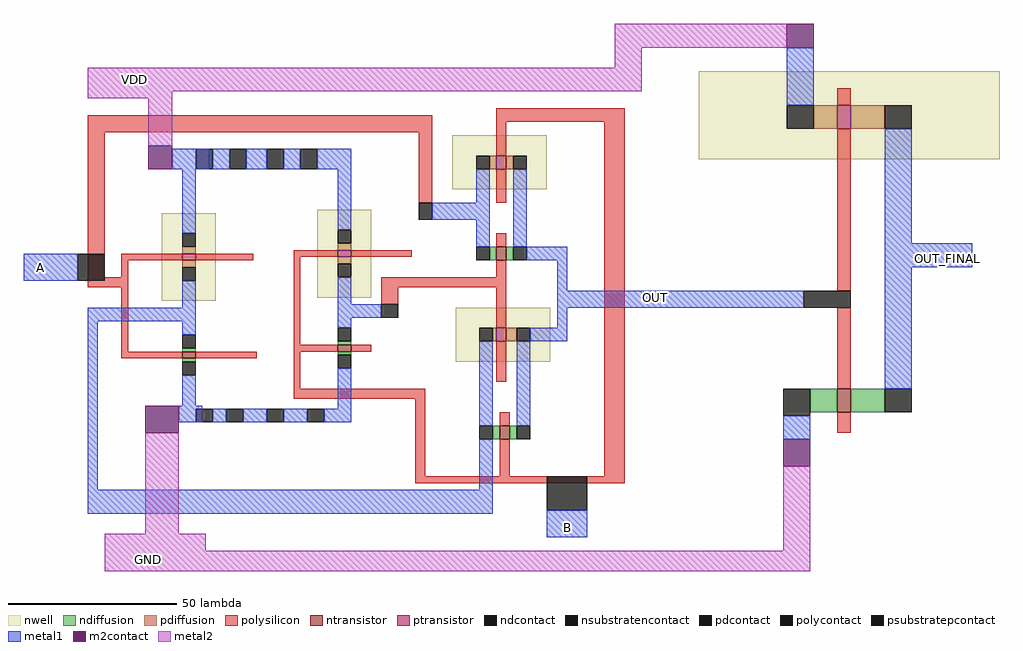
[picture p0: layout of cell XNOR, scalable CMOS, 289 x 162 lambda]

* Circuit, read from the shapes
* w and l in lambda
.subckt XNOR A B GND OUT OUT_FINAL VDD
M1 q1d_2_INPUT_XOR_0/ABAR A GND GND nfet w=4 l=2
M2 q1d_2_INPUT_XOR_0/BBAR B GND GND nfet w=4 l=2
M3 OUT q1d_2_INPUT_XOR_0/BBAR A GND nfet w=4 l=3
M4 OUT B q1d_2_INPUT_XOR_0/ABAR GND nfet w=4 l=3
M5 OUT_FINAL OUT GND GND nfet w=7 l=4
M6 VDD A q1d_2_INPUT_XOR_0/ABAR n1 pfet w=4 l=2
M7 VDD B q1d_2_INPUT_XOR_0/BBAR n2 pfet w=4 l=2
M8 OUT q1d_2_INPUT_XOR_0/BBAR q1d_2_INPUT_XOR_0/ABAR n3 pfet w=4 l=3
M9 OUT B A n4 pfet w=4 l=3
M10 OUT_FINAL OUT VDD n5 pfet w=7 l=4
.ends

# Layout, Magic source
magic
tech scmos
<< nwell >>
rect 181 105 270 131
<< ntransistor >>
rect 222 30 226 37
<< ptransistor >>
rect 222 114 226 121
<< ndiffusion >>
rect 214 30 222 37
rect 226 30 236 37
<< pdiffusion >>
rect 215 114 222 121
rect 226 114 236 121
<< ndcontact >>
rect 206 29 214 37
rect 236 30 244 37
<< pdcontact >>
rect 207 114 215 121
rect 236 114 244 121
<< polysilicon >>
rect 222 121 226 126
rect 222 66 226 114
rect 222 37 226 61
rect 222 24 226 30
<< polycontact >>
rect -3 69 5 77
rect 212 61 226 66
rect 136 1 148 11
<< metal1 >>
rect 207 121 215 138
rect 25 102 36 108
rect 236 80 244 114
rect -19 69 -3 77
rect 236 73 262 80
rect 139 62 212 66
rect 142 61 212 62
rect 236 37 244 73
rect 27 27 34 32
rect 206 22 214 29
rect 136 -7 148 1
<< m2contact >>
rect 207 138 215 145
rect 18 102 25 109
rect 17 24 27 32
rect 206 14 214 22
<< metal2 >>
rect 156 138 207 145
rect 156 132 164 138
rect 0 125 164 132
rect 0 123 25 125
rect 18 109 25 123
rect 17 -6 27 24
rect 5 -11 35 -6
rect 206 -11 214 14
rect 5 -17 214 -11
use q1d_2_INPUT_XOR  q1d_2_INPUT_XOR_0
transform 1 0 56 0 1 62
box -56 -62 103 58
<< labels >>
rlabel metal1 -15 72 -13 74 3 A
rlabel metal1 141 -5 143 -3 1 B
rlabel metal1 167 63 169 65 1 OUT
rlabel metal2 13 128 15 129 5 VDD
rlabel metal2 17 -14 19 -13 1 GND
rlabel metal1 254 75 255 76 1 OUT_FINAL
<< end >>

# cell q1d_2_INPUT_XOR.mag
magic
tech scmos
<< nwell >>
rect 52 34 80 50
rect -34 1 -18 27
rect 12 2 28 28
rect 53 -17 81 -1
<< ntransistor >>
rect 65 13 68 17
rect 18 -14 22 -12
rect -28 -16 -24 -14
rect 66 -40 69 -36
<< ptransistor >>
rect 65 40 68 44
rect -28 13 -24 15
rect 18 14 22 16
rect 65 -11 68 -7
<< ndiffusion >>
rect -28 -14 -24 -13
rect 63 13 65 17
rect 68 13 70 17
rect 18 -12 22 -11
rect -28 -17 -24 -16
rect 18 -15 22 -14
rect 64 -40 66 -36
rect 69 -40 71 -36
<< pdiffusion >>
rect 63 40 65 44
rect 68 40 70 44
rect -28 15 -24 17
rect 18 16 22 18
rect -28 11 -24 13
rect 18 12 22 14
rect 64 -11 65 -7
rect 68 -11 71 -7
<< ndcontact >>
rect -28 -13 -24 -9
rect 59 13 63 17
rect 70 13 74 17
rect 18 -11 22 -7
rect -28 -21 -24 -17
rect 18 -19 22 -15
rect 60 -40 64 -36
rect 71 -40 75 -36
<< pdcontact >>
rect 59 40 63 44
rect 70 40 74 44
rect -28 17 -24 21
rect 18 18 22 22
rect -28 7 -24 11
rect 18 8 22 12
rect 60 -11 64 -7
rect 71 -11 75 -7
<< psubstratepcontact >>
rect -24 -35 -19 -31
rect -15 -35 -10 -31
rect -3 -35 2 -31
rect 9 -35 14 -31
<< nsubstratencontact >>
rect -24 40 -19 46
rect -14 40 -9 46
rect -3 40 2 46
rect 7 40 12 46
<< polysilicon >>
rect -56 51 46 56
rect -56 8 -51 51
rect 42 30 46 51
rect 65 54 103 58
rect 65 44 68 54
rect 65 30 68 40
rect 65 17 68 21
rect -46 13 -28 15
rect -24 13 -7 15
rect 5 14 18 16
rect 22 14 40 16
rect -46 8 -44 13
rect -56 5 -44 8
rect -46 -14 -44 5
rect 5 -12 7 14
rect 65 8 68 13
rect 31 5 68 8
rect 31 0 36 5
rect 65 -7 68 5
rect 5 -14 18 -12
rect 22 -14 28 -12
rect -46 -16 -28 -14
rect -24 -16 -6 -14
rect 5 -25 7 -14
rect 65 -23 68 -11
rect 5 -28 44 -25
rect 41 -51 44 -28
rect 66 -36 69 -32
rect 66 -51 69 -40
rect 97 -51 103 54
rect 41 -53 103 -51
<< polycontact >>
rect 42 25 46 30
rect 31 -4 36 0
<< metal1 >>
rect -28 21 -24 46
rect -19 40 -14 46
rect -9 40 -3 46
rect 2 40 7 46
rect 12 40 22 46
rect 18 22 22 40
rect 59 30 63 40
rect 46 25 63 30
rect 59 17 63 25
rect 70 17 74 40
rect 74 13 86 17
rect -28 -1 -24 7
rect -56 -5 -24 -1
rect -56 -55 -53 -5
rect -28 -9 -24 -5
rect 18 0 22 8
rect 18 -4 31 0
rect 18 -7 22 -4
rect 83 -7 86 13
rect -28 -35 -24 -21
rect 18 -31 22 -19
rect -19 -35 -15 -31
rect -10 -35 -3 -31
rect 2 -35 9 -31
rect 14 -35 22 -31
rect 60 -36 64 -11
rect 75 -11 86 -7
rect 71 -36 75 -11
rect 60 -55 64 -40
rect -56 -62 64 -55
<< labels >>
rlabel polysilicon -45 2 -45 3 1 A
rlabel polysilicon 6 2 6 3 1 B
rlabel metal1 84 3 84 4 1 OUT
rlabel metal1 -27 -4 -26 -1 1 ABAR
rlabel metal1 20 3 21 6 1 BBAR
rlabel metal1 -7 41 -6 42 1 VDD
rlabel metal1 5 -34 6 -33 1 GND
<< end >>
